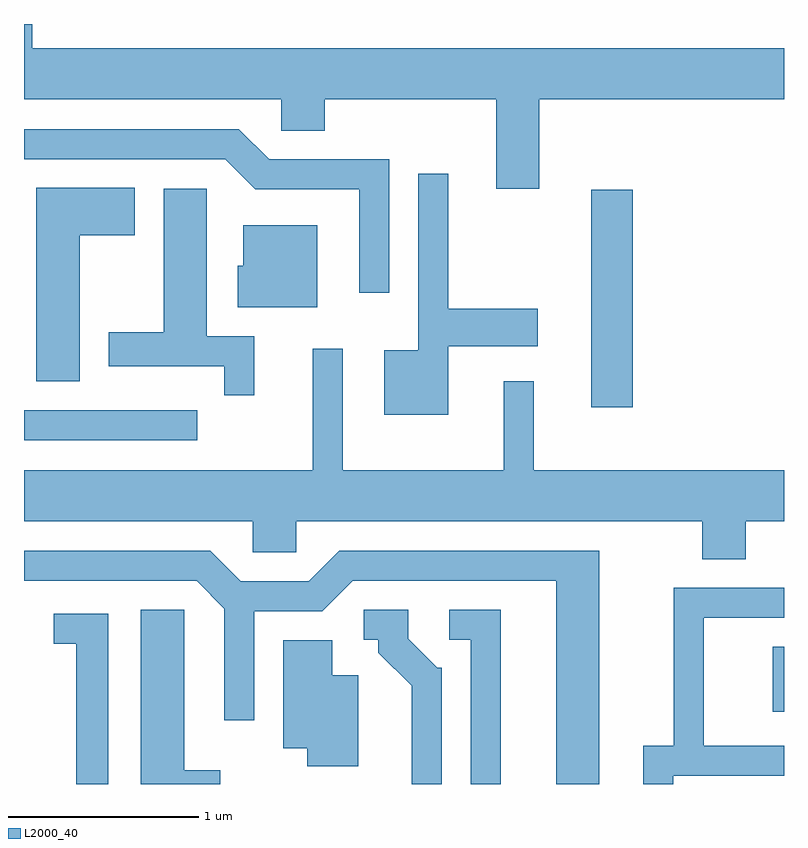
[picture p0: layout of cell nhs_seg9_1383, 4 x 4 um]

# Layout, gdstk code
import gdstk
lib = gdstk.Library(unit=1e-6, precision=1e-09)
def R(c, l, rs):  # rectangles x0, y0, x1, y1
    for r in rs: c.add(gdstk.rectangle(r[:2], r[2:], *l))
def P(c, l, *ps):  # polygons
    for p in ps: c.add(gdstk.Polygon(p, *l))
L2000_40 = (2000, 40)

nhs_seg9_1383 = lib.new_cell('nhs_seg9_1383')
R(nhs_seg9_1383, L2000_40, [(229.551,1990.811,229.611,1991.154), (225.611,1992.241,226.523,1992.399), (228.596,1992.416,228.814,1993.559)])
P(nhs_seg9_1383, L2000_40, [(228.324,1994.036),(229.611,1994.036),(229.611,1994.304),(225.654,1994.304),(225.654,1994.432),(225.611,1994.432),(225.611,1994.036),(226.966,1994.036),(226.966,1993.871),(227.194,1993.871),(227.194,1994.036),(228.096,1994.036),(228.096,1993.566),(228.324,1993.566)],
  [(227.534,1993.719),(226.902,1993.719),(226.742,1993.879),(225.611,1993.879),(225.611,1993.721),(226.669,1993.721),(226.829,1993.561),(227.376,1993.561),(227.376,1993.018),(227.534,1993.018)],
  [(227.844,1992.736),(228.314,1992.736),(228.314,1992.934),(227.844,1992.934),(227.844,1993.643),(227.686,1993.643),(227.686,1992.714),(227.506,1992.714),(227.506,1992.376),(227.844,1992.376)],
  [(225.904,1993.321),(226.194,1993.321),(226.194,1993.569),(225.676,1993.569),(225.676,1992.551),(225.904,1992.551)],
  [(226.824,1992.789),(226.574,1992.789),(226.574,1993.564),(226.346,1993.564),(226.346,1992.809),(226.056,1992.809),(226.056,1992.631),(226.666,1992.631),(226.666,1992.478),(226.824,1992.478)],
  [(227.154,1993.374),(226.766,1993.374),(226.766,1993.159),(226.736,1993.159),(226.736,1992.941),(227.154,1992.941)],
  [(228.136,1992.553),(228.136,1992.084),(227.289,1992.084),(227.289,1992.723),(227.131,1992.723),(227.131,1992.084),(225.611,1992.084),(225.611,1991.816),(226.816,1991.816),(226.816,1991.651),(227.044,1991.651),(227.044,1991.816),(229.181,1991.816),(229.181,1991.616),(229.409,1991.616),(229.409,1991.816),(229.611,1991.816),(229.611,1992.084),(228.294,1992.084),(228.294,1992.553)],
  [(228.639,1991.659),(227.269,1991.659),(227.109,1991.499),(226.752,1991.499),(226.592,1991.659),(225.611,1991.659),(225.611,1991.501),(226.519,1991.501),(226.666,1991.354),(226.666,1990.768),(226.824,1990.768),(226.824,1991.341),(227.182,1991.341),(227.342,1991.501),(228.411,1991.501),(228.411,1990.432),(228.639,1990.432)],
  [(229.029,1990.476),(229.611,1990.476),(229.611,1990.634),(229.189,1990.634),(229.189,1991.306),(229.611,1991.306),(229.611,1991.464),(229.031,1991.464),(229.031,1990.634),(228.871,1990.634),(228.871,1990.432),(229.029,1990.432)],
  [(228.119,1991.349),(227.848,1991.349),(227.848,1991.191),(227.961,1991.191),(227.961,1990.432),(228.119,1990.432)],
  [(227.809,1991.044),(227.787,1991.044),(227.634,1991.197),(227.634,1991.349),(227.398,1991.349),(227.398,1991.191),(227.476,1991.191),(227.476,1991.124),(227.651,1990.949),(227.651,1990.432),(227.809,1990.432)],
  [(226.643,1990.504),(226.454,1990.504),(226.454,1991.349),(226.226,1991.349),(226.226,1990.432),(226.643,1990.432)],
  [(226.054,1991.329),(225.768,1991.329),(225.768,1991.171),(225.886,1991.171),(225.886,1990.432),(226.054,1990.432)],
  [(227.369,1991.004),(227.234,1991.004),(227.234,1991.189),(226.976,1991.189),(226.976,1990.621),(227.101,1990.621),(227.101,1990.526),(227.369,1990.526)])

lib.write_gds('nhs_seg9_1383.gds')
